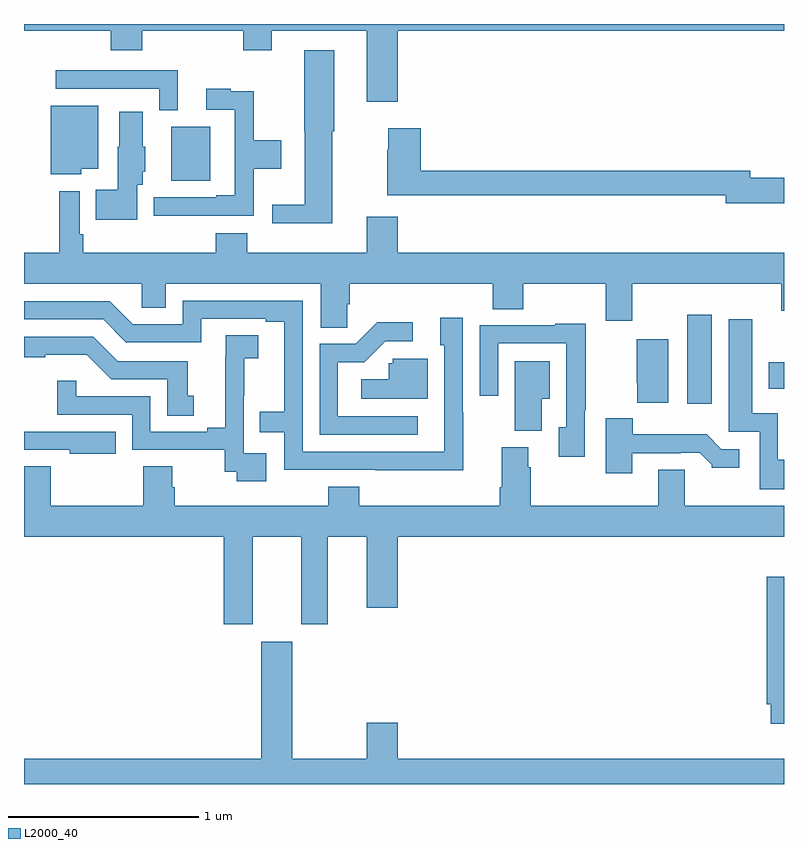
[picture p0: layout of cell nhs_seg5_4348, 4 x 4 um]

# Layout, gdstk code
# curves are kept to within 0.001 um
import gdstk
lib = gdstk.Library(unit=1e-6, precision=1e-09)
def R(c, l, rs):  # rectangles x0, y0, x1, y1
    for r in rs: c.add(gdstk.rectangle(r[:2], r[2:], *l))
def P(c, l, *ps):  # polygons
    for p in ps: c.add(gdstk.Polygon(p, *l))
L2000_40 = (2000, 40)

nhs_seg5_4348 = lib.new_cell('nhs_seg5_4348')
R(nhs_seg5_4348, L2000_40, [(370.49,850.8,370.621,851.269), (370.919,850.88,371,851.02), (367.775,851.975,367.981,852.259)])
P(nhs_seg5_4348, L2000_40, [(367,852.764),(367.457,852.764),(367.457,852.662),(367.622,852.662),(367.622,852.764),(368.153,852.764),(368.153,852.662),(368.305,852.662),(368.305,852.764),(368.804,852.764),(368.804,852.39),(368.968,852.39),(368.968,852.764),(371,852.764),(371,852.799),(367,852.799)],
  [(368.622,852.234),(368.632,852.234),(368.632,852.661),(368.474,852.661),(368.474,852.234),(368.477,852.234),(368.477,851.849),(368.307,851.849),(368.307,851.75),(368.622,851.75)],
  [(367.81,852.555),(367.167,852.555),(367.167,852.459),(367.713,852.459),(367.713,852.344),(367.81,852.344)],
  [(367.925,851.79),(368.21,851.79),(368.21,852.038),(368.353,852.038),(368.353,852.186),(368.21,852.186),(368.21,852.446),(368.087,852.446),(368.087,852.457),(367.959,852.457),(367.959,852.348),(368.109,852.348),(368.109,851.899),(368.012,851.899),(368.012,851.886),(367.683,851.886),(367.683,851.789),(367.925,851.789)],
  [(367.3,852.038),(367.39,852.038),(367.39,852.37),(367.142,852.37),(367.142,852.008),(367.3,852.008)],
  [(367.597,851.952),(367.624,851.952),(367.624,852.021),(367.639,852.021),(367.639,852.153),(367.624,852.153),(367.624,852.337),(367.502,852.337),(367.502,852.153),(367.493,852.153),(367.493,851.926),(367.378,851.926),(367.378,851.768),(367.597,851.768)],
  [(371,851.99),(370.822,851.99),(370.822,852.026),(369.089,852.026),(369.089,852.25),(368.918,852.25),(368.918,852.137),(368.911,852.137),(368.911,851.898),(370.694,851.898),(370.694,851.855),(371,851.855)],
  [(368.804,851.785),(368.804,851.596),(368.174,851.596),(368.174,851.698),(368.009,851.698),(368.009,851.596),(367.313,851.596),(367.313,851.692),(367.293,851.692),(367.293,851.92),(367.185,851.92),(367.185,851.596),(367,851.596),(367,851.432),(367.62,851.432),(367.62,851.305),(367.747,851.305),(367.747,851.432),(368.561,851.432),(368.561,851.2),(368.7,851.2),(368.7,851.323),(368.714,851.323),(368.714,851.432),(369.467,851.432),(369.467,851.299),(369.627,851.299),(369.627,851.432),(370.061,851.432),(370.061,851.238),(370.201,851.238),(370.201,851.432),(370.985,851.432),(370.985,851.291),(371,851.291),(371,851.596),(368.968,851.596),(368.968,851.785)],
  [(369.311,850.754),(369.309,850.754),(369.309,851.254),(369.191,851.254),(369.191,851.109),(369.213,851.109),(369.213,850.548),(368.466,850.548),(368.466,851.343),(367.836,851.343),(367.836,851.22),(367.572,851.22),(367.452,851.34),(367,851.34),(367,851.244),(367.416,851.244),(367.536,851.124),(367.932,851.124),(367.932,851.247),(368.273,851.247),(368.273,851.232),(368.369,851.232),(368.369,850.759),(368.242,850.759),(368.242,850.65),(368.37,850.65),(368.37,850.452),(369.311,850.451)],
  [(371,850.506),(370.968,850.506),(370.968,850.75),(370.834,850.75),(370.834,851.245),(370.709,851.245),(370.709,850.653),(370.872,850.653),(370.872,850.35),(371,850.35)],
  [(369.073,850.734),(368.652,850.734),(368.652,851.019),(368.79,851.019),(368.901,851.13),(369.046,851.13),(369.046,851.228),(368.858,851.228),(368.745,851.115),(368.556,851.115),(368.556,850.638),(369.073,850.638)],
  [(369.951,850.765),(369.956,850.765),(369.956,851.221),(369.795,851.221),(369.795,851.214),(369.399,851.214),(369.399,850.842),(369.495,850.842),(369.495,851.118),(369.855,851.118),(369.855,850.677),(369.815,850.677),(369.815,850.521),(369.951,850.521)],
  [(368.275,850.539),(368.157,850.539),(368.157,850.843),(368.159,850.843),(368.159,851.041),(368.233,851.041),(368.233,851.162),(368.062,851.162),(368.062,851.051),(368.06,851.051),(368.06,850.673),(367.964,850.673),(367.964,850.653),(367.665,850.653),(367.665,850.839),(367.275,850.839),(367.275,850.921),(367.174,850.921),(367.174,850.743),(367.569,850.743),(367.569,850.557),(368.056,850.557),(368.056,850.443),(368.119,850.443),(368.119,850.392),(368.275,850.392)],
  [(367.894,850.842),(367.861,850.842),(367.861,851.025),(367.494,851.025),(367.365,851.154),(367,851.154),(367,851.046),(367.112,851.046),(367.112,851.057),(367.33,851.057),(367.458,850.929),(367.754,850.929),(367.754,850.738),(367.894,850.738)],
  [(370.39,851.14),(370.226,851.14),(370.226,850.912),(370.228,850.912),(370.228,850.805),(370.39,850.805)],
  [(369.124,851.037),(368.94,851.037),(368.94,851.013),(368.919,851.013),(368.919,850.93),(368.775,850.93),(368.775,850.826),(369.124,850.826)],
  [(369.724,850.826),(369.766,850.826),(369.766,851.023),(369.584,851.023),(369.584,850.657),(369.724,850.657)],
  [(370.201,850.539),(370.457,850.539),(370.457,850.542),(370.556,850.542),(370.62,850.478),(370.62,850.463),(370.765,850.463),(370.765,850.56),(370.671,850.56),(370.593,850.639),(370.204,850.639),(370.204,850.723),(370.061,850.723),(370.061,850.434),(370.201,850.434)],
  [(367.484,850.653),(367,850.653),(367,850.557),(367.241,850.557),(367.241,850.538),(367.484,850.538)],
  [(368.765,850.363),(368.6,850.363),(368.6,850.264),(367.793,850.264),(367.793,850.362),(367.78,850.362),(367.78,850.472),(367.628,850.472),(367.628,850.264),(367.142,850.264),(367.142,850.472),(367,850.472),(367,850.1),(368.051,850.1),(368.051,849.639),(368.203,849.639),(368.203,850.1),(368.459,850.1),(368.459,849.639),(368.599,849.639),(368.599,850.1),(368.804,850.1),(368.804,849.726),(368.968,849.726),(368.968,850.1),(371,850.1),(371,850.264),(370.477,850.264),(370.477,850.454),(370.337,850.454),(370.337,850.264),(369.668,850.264),(369.668,850.466),(369.655,850.466),(369.655,850.572),(369.515,850.572),(369.515,850.36),(369.503,850.36),(369.503,850.264),(368.765,850.264)],
  [(371,849.889),(370.909,849.889),(370.909,849.22),(370.929,849.22),(370.929,849.116),(371,849.116)],
  [(371,848.932),(368.968,848.932),(368.968,849.121),(368.804,849.121),(368.804,848.932),(368.413,848.932),(368.413,849.547),(368.249,849.547),(368.249,848.932),(367,848.932),(367,848.799),(371,848.799)])

lib.write_gds('nhs_seg5_4348.gds')
